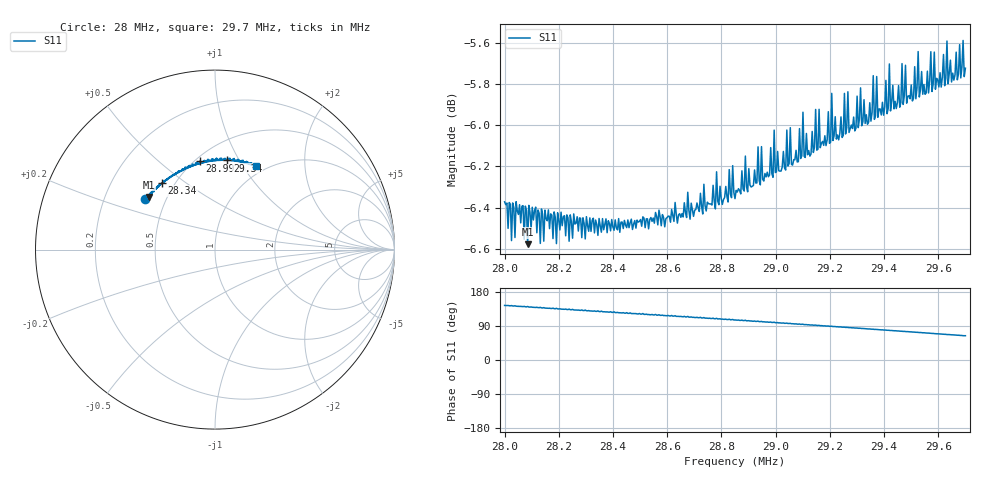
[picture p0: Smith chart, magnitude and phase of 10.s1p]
# Hz S RI R 50
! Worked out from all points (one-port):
!   401 points, 28 MHz to 29.7 MHz, reference 50 ohm
!   lowest |S11| = -6.6 dB at 28.09 MHz (marker M1), VSWR 2.77, Z = 20 + j15 ohm
!   |S11| at or under -10 dB: nowhere
!   S11 on the Smith chart (normalised r, x): 28 MHz: 0.38, +0.28; 28.34 MHz: 0.43, +0.41; 28.99 MHz: 0.53, +0.69; 29.34 MHz: 0.67, +0.89; 29.7 MHz: 0.90, +1.14
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2.8e7  -0.3887 0.2819
2.802975e7  -0.3814 0.2912
2.8085e7  -0.3656 0.2936
2.818275e7  -0.3405 0.3348
2.82125e7  -0.3297 0.3403
2.833575e7  -0.2958 0.372
2.8425e7  -0.2688 0.388
2.850575e7  -0.2441 0.406
2.852275e7  -0.2453 0.4075
2.8561e7  -0.2265 0.4189
2.86375e7  -0.2021 0.4293
2.86715e7  -0.1917 0.4357
2.870975e7  -0.1849 0.4428
2.872675e7  -0.1716 0.4472
2.87565e7  -0.1663 0.4499
2.87735e7  -0.1554 0.4545
2.885e7  -0.13 0.4631
2.89945e7  -0.0845 0.4926
2.90625e7  -0.0494 0.4876
2.915175e7  -0.00978 0.4942
2.9275e7  0.0392 0.4987
2.933875e7  0.0691 0.4967
2.936425e7  0.081 0.4963
2.93855e7  0.0889 0.4979
2.9411e7  0.1012 0.4942
2.94875e7  0.1328 0.4918
2.957675e7  0.1737 0.4803
2.97e7  0.2264 0.4653
